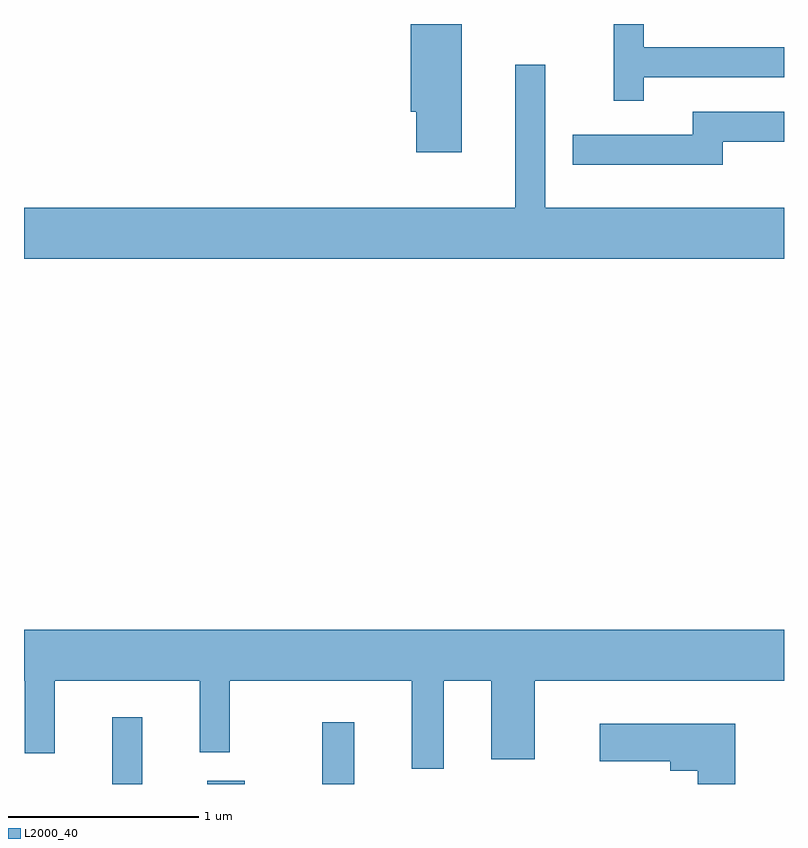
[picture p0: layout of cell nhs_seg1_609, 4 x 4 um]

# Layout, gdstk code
import gdstk
lib = gdstk.Library(unit=1e-6, precision=1e-09)
def R(c, l, rs):  # rectangles x0, y0, x1, y1
    for r in rs: c.add(gdstk.rectangle(r[:2], r[2:], *l))
def P(c, l, *ps):  # polygons
    for p in ps: c.add(gdstk.Polygon(p, *l))
L2000_40 = (2000, 40)

nhs_seg1_609 = lib.new_cell('nhs_seg1_609')
R(nhs_seg1_609, L2000_40, [(204.076,885.712,204.234,886.063), (204.576,885.712,204.774,885.729), (205.181,885.712,205.349,886.038)])
P(nhs_seg1_609, L2000_40, [(206.874,889.431),(207.611,889.431),(207.611,889.589),(206.874,889.589),(206.874,889.712),(206.716,889.712),(206.716,889.308),(206.874,889.308)],
  [(205.914,889.712),(205.646,889.712),(205.646,889.251),(205.676,889.251),(205.676,889.036),(205.914,889.036)],
  [(207.611,888.744),(206.354,888.744),(206.354,889.498),(206.196,889.498),(206.196,888.744),(203.611,888.744),(203.611,888.476),(207.611,888.476)],
  [(207.289,889.091),(207.611,889.091),(207.611,889.249),(207.131,889.249),(207.131,889.129),(206.498,889.129),(206.498,888.971),(207.289,888.971)],
  [(205.819,886.256),(206.071,886.256),(206.071,885.841),(206.299,885.841),(206.299,886.256),(207.611,886.256),(207.611,886.524),(203.611,886.524),(203.611,886.256),(203.616,886.256),(203.616,885.873),(203.774,885.873),(203.774,886.256),(204.536,886.256),(204.536,885.878),(204.694,885.878),(204.694,886.256),(205.651,886.256),(205.651,885.793),(205.819,885.793)],
  [(207.354,886.029),(206.641,886.029),(206.641,885.831),(207.011,885.831),(207.011,885.781),(207.156,885.781),(207.156,885.712),(207.354,885.712)])

lib.write_gds('nhs_seg1_609.gds')
